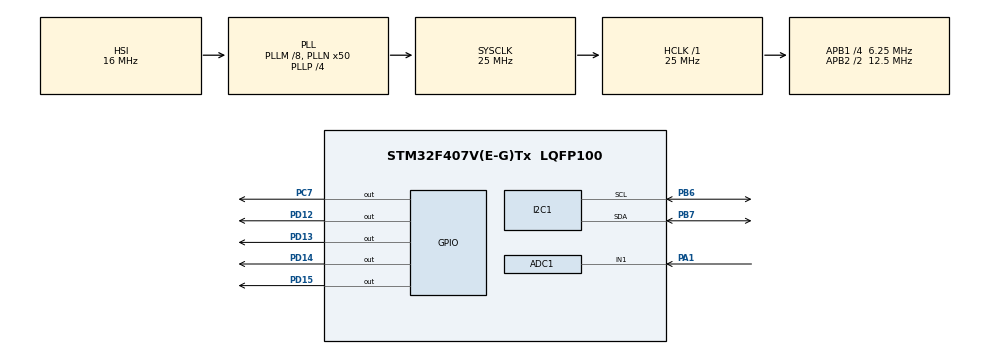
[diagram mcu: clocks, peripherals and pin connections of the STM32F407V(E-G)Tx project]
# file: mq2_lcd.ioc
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ADC1.Channel-0\#ChannelRegularConversion=ADC_CHANNEL_1
ADC1.NbrOfConversionFlag=1
ADC1.Rank-0\#ChannelRegularConversion=1
ADC1.SamplingTime-0\#ChannelRegularConversion=ADC_SAMPLETIME_3CYCLES
ADC1.master=1
Mcu.Family=STM32F4
Mcu.Name=STM32F407V(E-G)Tx
Mcu.Package=LQFP100
NVIC.PriorityGroup=NVIC_PRIORITYGROUP_0
PA1.Signal=ADCx_IN1
PB6.Mode=I2C
PB6.Signal=I2C1_SCL
PB7.Mode=I2C
PB7.Signal=I2C1_SDA
PC7.Signal=GPIO_Output
PD12.Signal=GPIO_Output
PD13.Signal=GPIO_Output
PD14.Signal=GPIO_Output
PD15.Signal=GPIO_Output
PH0-OSC_IN.Mode=HSE-External-Oscillator
PH0-OSC_IN.Signal=RCC_OSC_IN
PH1-OSC_OUT.Mode=HSE-External-Oscillator
PH1-OSC_OUT.Signal=RCC_OSC_OUT
ProjectManager.HeapSize=0x200
ProjectManager.StackSize=0x400
ProjectManager.TargetToolchain=STM32CubeIDE
RCC.48MHZClocksFreq_Value=14285714.285714285
RCC.AHBFreq_Value=25000000
RCC.APB1CLKDivider=RCC_HCLK_DIV4
RCC.APB1Freq_Value=6250000
RCC.APB1TimFreq_Value=12500000
RCC.APB2CLKDivider=RCC_HCLK_DIV2
RCC.APB2Freq_Value=12500000
RCC.APB2TimFreq_Value=25000000
RCC.CortexFreq_Value=25000000
RCC.HCLKFreq_Value=25000000
RCC.HSE_VALUE=8000000
RCC.HSI_VALUE=16000000
RCC.PLLM=8
RCC.PLLN=50
RCC.PLLP=RCC_PLLP_DIV4
RCC.PLLQ=7
RCC.SYSCLKFreq_VALUE=25000000
RCC.SYSCLKSource=RCC_SYSCLKSOURCE_PLLCLK
RCC.VCOOutputFreq_Value=100000000
SH.ADCx_IN1.0=ADC1_IN1,IN1
board=STM32F407G-DISC1

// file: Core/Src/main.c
/* USER CODE BEGIN Header */
/**
  ******************************************************************************
  * @file           : main.c
  * @brief          : Main program body
  ******************************************************************************
  * @attention
  *
  * Copyright (c) 2025 STMicroelectronics.
  * All rights reserved.
  *
  * This software is licensed under terms that can be found in the LICENSE file
  * in the root directory of this software component.
  * If no LICENSE file comes with this software, it is provided AS-IS.
  *
  ******************************************************************************
  */
/* USER CODE END Header */
#include "main.h"

/* USER CODE BEGIN Includes */
#include "mq2.h"
#include "my_lcd.h"
#include <string.h>
#include <stdio.h>
#include "dh11.h"
/* USER CODE END Includes */

ADC_HandleTypeDef hadc1;

I2C_HandleTypeDef hi2c1;

/* USER CODE BEGIN PV */
uint32_t adc_value;
char lcd_buf[16];

/* USER CODE END PV */

void SystemClock_Config(void);
static void MX_GPIO_Init(void);
static void MX_I2C1_Init(void);
static void MX_ADC1_Init(void);

int main(void)
{
	uint8_t temperature;
	uint8_t humidity;

	char str[16];    // ✅ ADD THIS
	char str2[16];

  /* MCU Configuration--------------------------------------------------------*/

  /* Reset of all peripherals, Initializes the Flash interface and the Systick. */
  HAL_Init();

  /* Configure the system clock */
  SystemClock_Config();

  /* Initialize all configured peripherals */
  MX_GPIO_Init();
  MX_I2C1_Init();
  MX_ADC1_Init();
  /* USER CODE BEGIN 2 */

  MQ2_Init(&hadc1);
  if (!lcd16x2_i2c_init(&hi2c1))
    {
        // LCD not detected
        while(1);
     }

          lcd16x2_i2c_clear();

   //Print on 1st line
   lcd16x2_i2c_setCursor(0, 0);   // Row 0, Col 0
   lcd16x2_i2c_printf("GAS SENSOR");
   uint32_t value = 0;

  /* USER CODE END 2 */

  /* Infinite loop */
  while (1)
  {

    /* USER CODE BEGIN 3 */

	      /* Read ADC value */
//	      HAL_ADC_Start(&hadc1);
//	      HAL_ADC_PollForConversion(&hadc1, HAL_MAX_DELAY);
//	      adc_value = HAL_ADC_GetValue(&hadc1);
//	      HAL_ADC_Stop(&hadc1);

	  value = MQ2_ReadADC();
	      /* First line: ADC value */
	  MQ2_GetAirQuality(value);

	    lcd16x2_i2c_setCursor(0, 12);

	    sprintf(str, "%lu", value);

	    lcd16x2_i2c_printf(str);

	    if (DH11_Read(&temperature, &humidity) == 0)

	    {

	     lcd16x2_i2c_setCursor(1, 0);

	     sprintf(str2, "T:%dC H:%d%%", temperature, humidity);

	     lcd16x2_i2c_printf(str2);

	    }

	    HAL_Delay(2000);

  }
  /* USER CODE END 3 */
}

void SystemClock_Config(void)
{
  RCC_OscInitTypeDef RCC_OscInitStruct = {0};
  RCC_ClkInitTypeDef RCC_ClkInitStruct = {0};

  /** Configure the main internal regulator output voltage
  */
  __HAL_RCC_PWR_CLK_ENABLE();
  __HAL_PWR_VOLTAGESCALING_CONFIG(PWR_REGULATOR_VOLTAGE_SCALE1);

  /** Initializes the RCC Oscillators according to the specified parameters
  * in the RCC_OscInitTypeDef structure.
  */
  RCC_OscInitStruct.OscillatorType = RCC_OSCILLATORTYPE_HSI;
  RCC_OscInitStruct.HSIState = RCC_HSI_ON;
  RCC_OscInitStruct.HSICalibrationValue = RCC_HSICALIBRATION_DEFAULT;
  RCC_OscInitStruct.PLL.PLLState = RCC_PLL_ON;
  RCC_OscInitStruct.PLL.PLLSource = RCC_PLLSOURCE_HSI;
  RCC_OscInitStruct.PLL.PLLM = 8;
  RCC_OscInitStruct.PLL.PLLN = 50;
  RCC_OscInitStruct.PLL.PLLP = RCC_PLLP_DIV4;
  RCC_OscInitStruct.PLL.PLLQ = 7;
  if (HAL_RCC_OscConfig(&RCC_OscInitStruct) != HAL_OK)
  {
    Error_Handler();
  }

  /** Initializes the CPU, AHB and APB buses clocks
  */
  RCC_ClkInitStruct.ClockType = RCC_CLOCKTYPE_HCLK|RCC_CLOCKTYPE_SYSCLK
                              |RCC_CLOCKTYPE_PCLK1|RCC_CLOCKTYPE_PCLK2;
  RCC_ClkInitStruct.SYSCLKSource = RCC_SYSCLKSOURCE_PLLCLK;
  RCC_ClkInitStruct.AHBCLKDivider = RCC_SYSCLK_DIV1;
  RCC_ClkInitStruct.APB1CLKDivider = RCC_HCLK_DIV4;
  RCC_ClkInitStruct.APB2CLKDivider = RCC_HCLK_DIV2;

  if (HAL_RCC_ClockConfig(&RCC_ClkInitStruct, FLASH_LATENCY_0) != HAL_OK)
  {
    Error_Handler();
  }
}

static void MX_ADC1_Init(void)
{

  ADC_ChannelConfTypeDef sConfig = {0};

  /** Configure the global features of the ADC (Clock, Resolution, Data Alignment and number of conversion)
  */
  hadc1.Instance = ADC1;
  hadc1.Init.ClockPrescaler = ADC_CLOCK_SYNC_PCLK_DIV2;
  hadc1.Init.Resolution = ADC_RESOLUTION_12B;
  hadc1.Init.ScanConvMode = DISABLE;
  hadc1.Init.ContinuousConvMode = DISABLE;
  hadc1.Init.DiscontinuousConvMode = DISABLE;
  hadc1.Init.ExternalTrigConvEdge = ADC_EXTERNALTRIGCONVEDGE_NONE;
  hadc1.Init.ExternalTrigConv = ADC_SOFTWARE_START;
  hadc1.Init.DataAlign = ADC_DATAALIGN_RIGHT;
  hadc1.Init.NbrOfConversion = 1;
  hadc1.Init.DMAContinuousRequests = DISABLE;
  hadc1.Init.EOCSelection = ADC_EOC_SINGLE_CONV;
  if (HAL_ADC_Init(&hadc1) != HAL_OK)
  {
    Error_Handler();
  }

  /** Configure for the selected ADC regular channel its corresponding rank in the sequencer and its sample time.
  */
  sConfig.Channel = ADC_CHANNEL_1;
  sConfig.Rank = 1;
  sConfig.SamplingTime = ADC_SAMPLETIME_3CYCLES;
  if (HAL_ADC_ConfigChannel(&hadc1, &sConfig) != HAL_OK)
  {
    Error_Handler();
  }

}

static void MX_I2C1_Init(void)
{

  hi2c1.Instance = I2C1;
  hi2c1.Init.ClockSpeed = 100000;
  hi2c1.Init.DutyCycle = I2C_DUTYCYCLE_2;
  hi2c1.Init.OwnAddress1 = 0;
  hi2c1.Init.AddressingMode = I2C_ADDRESSINGMODE_7BIT;
  hi2c1.Init.DualAddressMode = I2C_DUALADDRESS_DISABLE;
  hi2c1.Init.OwnAddress2 = 0;
  hi2c1.Init.GeneralCallMode = I2C_GENERALCALL_DISABLE;
  hi2c1.Init.NoStretchMode = I2C_NOSTRETCH_DISABLE;
  if (HAL_I2C_Init(&hi2c1) != HAL_OK)
  {
    Error_Handler();
  }

}

static void MX_GPIO_Init(void)
{
  GPIO_InitTypeDef GPIO_InitStruct = {0};

  /* GPIO Ports Clock Enable */
  __HAL_RCC_GPIOH_CLK_ENABLE();
  __HAL_RCC_GPIOA_CLK_ENABLE();
  __HAL_RCC_GPIOD_CLK_ENABLE();
  __HAL_RCC_GPIOC_CLK_ENABLE();
  __HAL_RCC_GPIOB_CLK_ENABLE();

  /*Configure GPIO pin Output Level */
  HAL_GPIO_WritePin(GPIOD, GPIO_PIN_12|GPIO_PIN_13|GPIO_PIN_14|GPIO_PIN_15, GPIO_PIN_RESET);

  /*Configure GPIO pin Output Level */
  HAL_GPIO_WritePin(GPIOC, GPIO_PIN_7, GPIO_PIN_RESET);

  /*Configure GPIO pins : PD12 PD13 PD14 PD15 */
  GPIO_InitStruct.Pin = GPIO_PIN_12|GPIO_PIN_13|GPIO_PIN_14|GPIO_PIN_15;
  GPIO_InitStruct.Mode = GPIO_MODE_OUTPUT_PP;
  GPIO_InitStruct.Pull = GPIO_NOPULL;
  GPIO_InitStruct.Speed = GPIO_SPEED_FREQ_LOW;
  HAL_GPIO_Init(GPIOD, &GPIO_InitStruct);

  /*Configure GPIO pin : PC7 */
  GPIO_InitStruct.Pin = GPIO_PIN_7;
  GPIO_InitStruct.Mode = GPIO_MODE_OUTPUT_PP;
  GPIO_InitStruct.Pull = GPIO_NOPULL;
  GPIO_InitStruct.Speed = GPIO_SPEED_FREQ_LOW;
  HAL_GPIO_Init(GPIOC, &GPIO_InitStruct);

}

void Error_Handler(void)
{
  __disable_irq();
  while (1)
  {
  }
}
